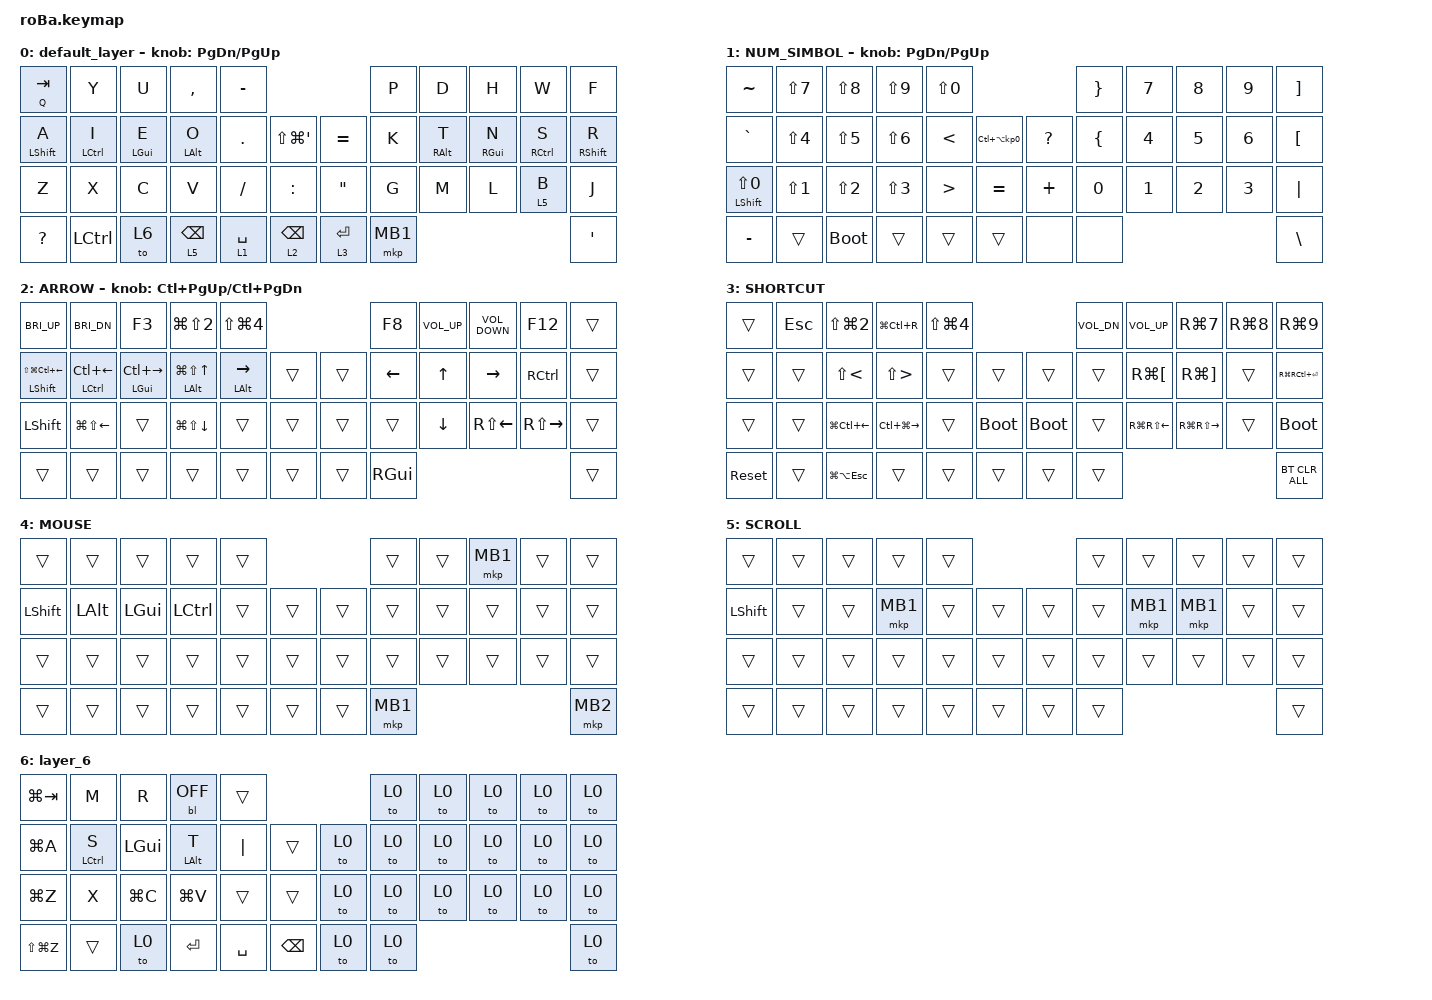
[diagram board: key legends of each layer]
#include <behaviors.dtsi>
#include <dt-bindings/zmk/backlight.h>
#include <dt-bindings/zmk/bt.h>
#include <dt-bindings/zmk/keys.h>
#include <dt-bindings/zmk/pointing.h>

#define MOUSE 4
#define SCROLL 5
#define NUM 6

&mt {
    flavor = "balanced";
    quick-tap-ms = <0>;
};

/ {
    combos {
        compatible = "zmk,combos";

        obsidian_blacket_kana {
            bindings = <&blacket_obsidian_kana>;
            key-positions = <2 3>;
        };

        shift_tab {
            bindings = <&kp LS(TAB)>;
            key-positions = <6 7>;
        };

        double_quotation {
            bindings = <&kp DOUBLE_QUOTES>;
            key-positions = <20 21>;
        };

        eq {
            bindings = <&kp EQUAL>;
            key-positions = <7 8>;
            layers = <0>;
        };

        eisuu {
            bindings = <&kp LANGUAGE_2>;
            key-positions = <13 12>;
            layers = <0>;
        };

        obsidian_bracket {
            bindings = <&bracket_to_obsidian>;
            key-positions = <24 25>;
        };

        kana {
            bindings = <&kp LANGUAGE_1>;
            key-positions = <18 19>;
            layers = <0>;
        };

        bracket90 {
            bindings = <&bracket90>;
            key-positions = <30 31>;
        };

        coron {
            bindings = <&kp RS(SEMI)>;
            key-positions = <32 33>;
        };

        semicolon {
            bindings = <&kp SEMI>;
            key-positions = <1 2>;
        };
    };

    macros {
        bracket_to_obsidian: to_layer_0 {
            compatible = "zmk,behavior-macro";
            #binding-cells = <0>;
            bindings = <&kp LANGUAGE_2 &kp LEFT_BRACKET &kp LEFT_BRACKET &kp RIGHT_BRACKET &kp RIGHT_BRACKET &kp LEFT_ARROW &kp LEFT_ARROW>;
            label = "TO_LAYER_0";
        };

        bracket90: bracket {
            compatible = "zmk,behavior-macro";
            #binding-cells = <0>;
            bindings = <&kp LEFT_PARENTHESIS &kp RIGHT_PARENTHESIS &kp LEFT>;
            label = "BRACKET";
        };

        blacket_obsidian_kana: blacket_obsidian_kana {
            compatible = "zmk,behavior-macro";
            #binding-cells = <0>;
            bindings = <&kp LANGUAGE_2 &kp LEFT_BRACKET &kp LEFT_BRACKET &kp RIGHT_BRACKET &kp RIGHT_BRACKET &kp LEFT_ARROW &kp LEFT_ARROW &kp LANGUAGE_1>;
            label = "BLACKET_OBSIDIAN_KANA";
        };
    };

    behaviors {
        lt_to_layer_0: lt_to_layer_0 {
            compatible = "zmk,behavior-hold-tap";
            label = "LAYER_TAP_TO_0";
            bindings = <&mo>, <&bracket_to_obsidian>;

            #binding-cells = <2>;
            tapping-term-ms = <200>;
        };
    };

    keymap {
        compatible = "zmk,keymap";

        default_layer {
            bindings = <
&mt Q TAB         &kp Y        &kp U           &kp COMMA        &kp MINUS                                            &kp P     &kp D            &kp H            &kp W        &kp F
&mt LEFT_SHIFT A  &mt LCTRL I  &mt LEFT_GUI E  &mt LEFT_ALT O   &kp PERIOD   &kp LS(LG(SQT))      &kp EQUAL          &kp K     &mt RIGHT_ALT T  &mt RIGHT_GUI N  &mt RCTRL S  &mt RIGHT_SHIFT R
&kp Z             &kp X        &kp C           &kp V            &kp SLASH    &kp COLON            &kp DOUBLE_QUOTES  &kp G     &kp M            &kp L            &lt 5 B      &kp J
&kp QUESTION      &kp LCTRL    &to 6           &lt 5 BACKSPACE  &lt 1 SPACE  &lt 2 BACKSPACE      &lt 3 ENTER        &mkp MB1                                                 &kp SQT
            >;

            sensor-bindings = <&inc_dec_kp PAGE_DOWN PG_UP>;
        };

        NUM_SIMBOL {
            bindings = <
&kp TILDE              &kp LS(N7)        &kp LS(N8)        &kp LS(N9)        &kp LS(N0)                                                   &kp RIGHT_BRACE  &kp N7        &kp N8        &kp N9        &kp RIGHT_BRACKET
&kp GRAVE              &kp LS(NUMBER_4)  &kp LS(N5)        &kp LS(NUMBER_6)  &kp LESS_THAN     &kp LC(LA(KP_NUMBER_0))      &kp QUESTION  &kp LEFT_BRACE   &kp NUMBER_4  &kp N5        &kp NUMBER_6  &kp LEFT_BRACKET
&mt LEFT_SHIFT LS(N0)  &kp LS(NUMBER_1)  &kp LS(NUMBER_2)  &kp LS(NUMBER_3)  &kp GREATER_THAN  &kp EQUAL                    &kp PLUS      &kp N0           &kp NUMBER_1  &kp NUMBER_2  &kp NUMBER_3  &kp PIPE
&kp MINUS              &trans            &bootloader       &trans            &trans            &trans                       &none         &none                                                      &kp BACKSLASH
            >;

            sensor-bindings = <&inc_dec_kp PAGE_DOWN PG_UP>;
        };

        ARROW {
            bindings = <
&kp C_BRI_UP                           &kp C_BRI_DN              &kp F3                        &kp LG(LS(NUMBER_2))           &kp LS(LG(NUMBER_4))                      &kp F8          &kp K_VOLUME_UP  &kp K_VOLUME_DOWN   &kp F12              &trans
&mt LEFT_SHIFT LS(LG(LC(LEFT_ARROW)))  &mt LCTRL LC(LEFT_ARROW)  &mt LEFT_GUI LC(RIGHT_ARROW)  &mt LEFT_ALT LG(LS(UP_ARROW))  &mt LEFT_ALT RIGHT    &trans      &trans  &kp LEFT_ARROW  &kp UP_ARROW     &kp RIGHT           &kp RIGHT_CONTROL    &trans
&kp LEFT_SHIFT                         &kp LG(LS(LEFT_ARROW))    &trans                        &kp LG(LS(DOWN_ARROW))         &trans                &trans      &trans  &trans          &kp DOWN_ARROW   &kp RS(LEFT_ARROW)  &kp RS(RIGHT_ARROW)  &trans
&trans                                 &trans                    &trans                        &trans                         &trans                &trans      &trans  &kp RIGHT_GUI                                                             &trans
            >;

            sensor-bindings = <&inc_dec_kp LC(PAGE_UP) LC(PAGE_DOWN)>;
        };

        SHORTCUT {
            bindings = <
&trans      &kp ESCAPE  &kp LS(LG(NUMBER_2))    &kp LG(LC(R))         &kp LS(LG(NUMBER_4))                                &kp C_VOL_DN  &kp C_VOL_UP            &kp RG(N7)               &kp RG(N8)  &kp RG(N9)
&trans      &trans      &kp LS(LESS_THAN)       &kp LS(GREATER_THAN)  &trans                &trans           &trans       &trans        &kp RG(LEFT_BRACKET)    &kp RG(RIGHT_BRACKET)    &trans      &kp RG(RC(ENTER))
&trans      &trans      &kp LG(LC(LEFT_ARROW))  &kp LC(LG(RIGHT))     &trans                &bootloader      &bootloader  &trans        &kp RG(RS(LEFT_ARROW))  &kp RG(RS(RIGHT_ARROW))  &trans      &bootloader
&sys_reset  &trans      &kp LG(LA(ESCAPE))      &trans                &trans                &trans           &trans       &trans                                                                     &bt BT_CLR_ALL
            >;
        };

        MOUSE {
            bindings = <
&trans      &trans        &trans        &trans     &trans                      &trans    &trans  &mkp MB1  &trans  &trans
&kp LSHIFT  &kp LEFT_ALT  &kp LEFT_GUI  &kp LCTRL  &trans  &trans      &trans  &trans    &trans  &trans    &trans  &trans
&trans      &trans        &trans        &trans     &trans  &trans      &trans  &trans    &trans  &trans    &trans  &trans
&trans      &trans        &trans        &trans     &trans  &trans      &trans  &mkp MB1                            &mkp MB2
            >;
        };

        SCROLL {
            bindings = <
&trans          &trans  &trans  &trans    &trans                      &trans  &trans    &trans    &trans  &trans
&kp LEFT_SHIFT  &trans  &trans  &mkp MB1  &trans  &trans      &trans  &trans  &mkp MB1  &mkp MB1  &trans  &trans
&trans          &trans  &trans  &trans    &trans  &trans      &trans  &trans  &trans    &trans    &trans  &trans
&trans          &trans  &trans  &trans    &trans  &trans      &trans  &trans                              &trans
            >;
        };

        layer_6 {
            bindings = <
&kp LG(TAB)    &kp M               &kp R         &bl BL_OFF      &trans                               &to 0  &to 0  &to 0  &to 0  &to 0
&kp LG(A)      &mt LEFT_CONTROL S  &kp LEFT_GUI  &mt LEFT_ALT T  &kp PIPE   &trans             &to 0  &to 0  &to 0  &to 0  &to 0  &to 0
&kp LG(Z)      &kp X               &kp LG(C)     &kp LG(V)       &trans     &trans             &to 0  &to 0  &to 0  &to 0  &to 0  &to 0
&kp LS(LG(Z))  &trans              &to 0         &kp ENTER       &kp SPACE  &kp BACKSPACE      &to 0  &to 0                       &to 0
            >;
        };
    };
};
